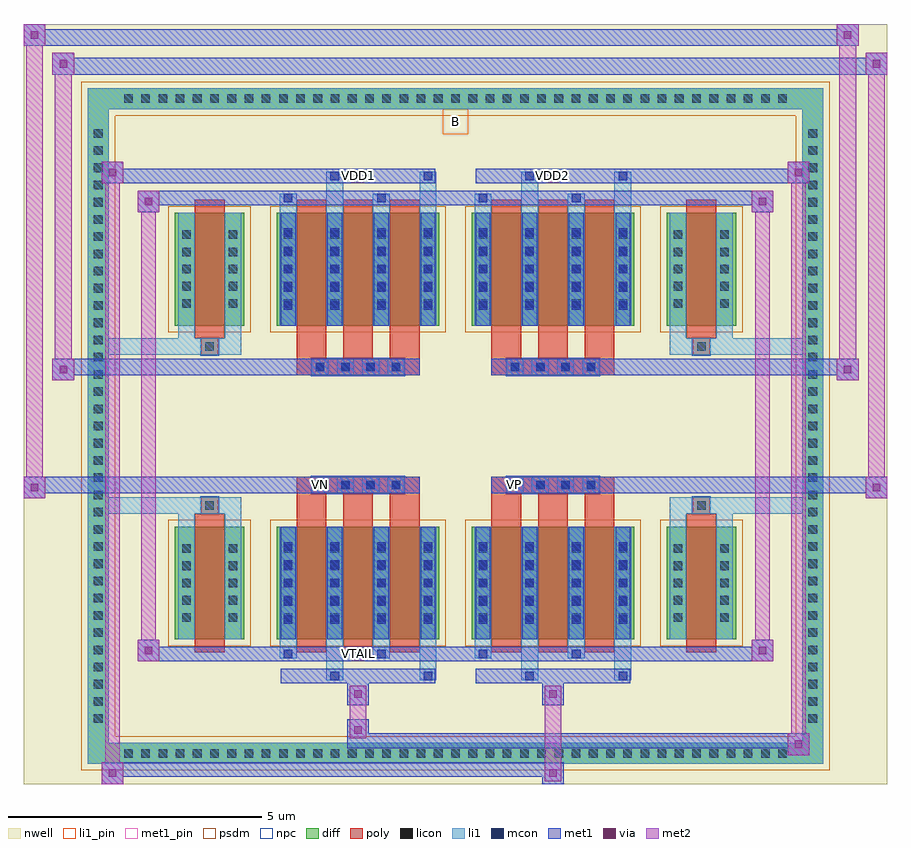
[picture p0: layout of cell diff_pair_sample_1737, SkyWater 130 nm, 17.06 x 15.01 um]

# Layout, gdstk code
import gdstk
lib = gdstk.Library(unit=1e-6, precision=5e-09)
def R(c, l, rs):  # rectangles x0, y0, x1, y1
    for r in rs: c.add(gdstk.rectangle(r[:2], r[2:], *l))
def A(c, l, x, y, w, h, nx, ny, dx, dy):  # array of equal rectangles
    R(c, l, [(x+i*dx, y+j*dy, x+i*dx+w, y+j*dy+h) for i in range(nx) for j in range(ny)])
def P(c, l, *ps):  # polygons
    for p in ps: c.add(gdstk.Polygon(p, *l))
nwell = (64, 20)
diff = (65, 20)
poly = (66, 20)
licon = (66, 44)
li1_pin = (67, 16)
li1 = (67, 20)
mcon = (67, 44)
met1_pin = (68, 16)
met1 = (68, 20)
via = (68, 44)
met2 = (69, 20)
psdm = (94, 20)
npc = (95, 20)

diff_pair_sample_1737 = lib.new_cell('diff_pair_sample_1737')
R(diff_pair_sample_1737, nwell, [(-8.53,-7.07,8.53,7.94), (-5.85,-5.26,-0.01,-0.8), (0.01,-5.26,5.85,-0.8), (-5.85,0.8,-0.01,5.26), (0.01,0.8,5.85,5.26)])
A(diff_pair_sample_1737, diff, -6.665, -6.67, 0.41, 0.41, 39, 2, 0.34, 12.93)
A(diff_pair_sample_1737, diff, -7.26, -5.985, 0.41, 0.41, 1, 35, 0, 0.34)
A(diff_pair_sample_1737, diff, 6.85, -5.985, 0.41, 0.41, 1, 35, 0, 0.34)
R(diff_pair_sample_1737, diff, [(-6.665,-6.67,6.665,-6.26), (-7.26,-5.985,-6.85,5.985), (6.85,-5.985,7.26,5.985), (-5.54,-4.215,-4.17,-1.985), (-3.53,-4.215,-0.32,-1.985), (0.32,-4.215,3.53,-1.985), (4.17,-4.215,5.54,-1.985), (-5.54,1.985,-4.17,4.215), (-3.53,1.985,-0.32,4.215), (0.32,1.985,3.53,4.215), (4.17,1.985,5.54,4.215), (-6.665,6.26,6.665,6.67)])
P(diff_pair_sample_1737, diff, [(7.26,6.67),(-7.26,6.67),(-7.26,-6.26),(-6.85,-6.26),(-6.85,6.26),(6.85,6.26),(6.85,-6.26),(-6.85,-6.26),(-7.26,-6.26),(-7.26,-6.67),(7.26,-6.67)])
A(diff_pair_sample_1737, poly, -3.14, -4.465, 0.59, 2.73, 3, 2, 0.92, 6.2)
A(diff_pair_sample_1737, poly, 0.71, -4.465, 0.59, 2.73, 3, 2, 0.92, 6.2)
A(diff_pair_sample_1737, poly, -3.14, -1.735, 0.59, 0.405, 3, 2, 0.92, 3.065)
A(diff_pair_sample_1737, poly, 0.71, -1.735, 0.59, 0.405, 3, 2, 0.92, 3.065)
A(diff_pair_sample_1737, poly, -2.84, -1.33, 0.33, 0.33, 4, 2, 0.5, 2.33)
A(diff_pair_sample_1737, poly, 1.01, -1.33, 0.33, 0.33, 4, 2, 0.5, 2.33)
R(diff_pair_sample_1737, poly, [(-5.15,-4.465,-4.56,-1.735), (4.56,-4.465,5.15,-1.735), (-5.02,-1.735,-4.69,-1.405), (-5.02,-1.735,-4.69,-1.405), (4.69,-1.735,5.02,-1.405), (4.69,-1.735,5.02,-1.405), (-3.14,-1.33,-0.71,-1), (0.71,-1.33,3.14,-1), (-3.14,1,-0.71,1.33), (0.71,1,3.14,1.33), (-5.02,1.405,-4.69,1.735), (-5.02,1.405,-4.69,1.735), (4.69,1.405,5.02,1.735), (4.69,1.405,5.02,1.735), (-5.15,1.735,-4.56,4.465), (4.56,1.735,5.15,4.465)])
A(diff_pair_sample_1737, licon, -6.545, -6.55, 0.17, 0.17, 39, 2, 0.34, 12.93)
A(diff_pair_sample_1737, licon, -7.14, -5.865, 0.17, 0.17, 1, 35, 0, 0.34)
A(diff_pair_sample_1737, licon, 6.97, -5.865, 0.17, 0.17, 1, 35, 0, 0.34)
A(diff_pair_sample_1737, licon, -5.4, -3.865, 0.17, 0.17, 1, 5, 0, 0.34)
A(diff_pair_sample_1737, licon, -4.48, -3.865, 0.17, 0.17, 1, 5, 0, 0.34)
A(diff_pair_sample_1737, licon, -3.39, -3.865, 0.17, 0.17, 4, 5, 0.92, 0.34)
A(diff_pair_sample_1737, licon, 0.46, -3.865, 0.17, 0.17, 4, 5, 0.92, 0.34)
A(diff_pair_sample_1737, licon, 4.31, -3.865, 0.17, 0.17, 1, 5, 0, 0.34)
A(diff_pair_sample_1737, licon, 5.23, -3.865, 0.17, 0.17, 1, 5, 0, 0.34)
A(diff_pair_sample_1737, licon, -2.76, -1.25, 0.17, 0.17, 4, 2, 0.5, 2.33)
A(diff_pair_sample_1737, licon, 1.09, -1.25, 0.17, 0.17, 4, 2, 0.5, 2.33)
A(diff_pair_sample_1737, licon, -5.4, 2.335, 0.17, 0.17, 1, 5, 0, 0.34)
A(diff_pair_sample_1737, licon, -4.48, 2.335, 0.17, 0.17, 1, 5, 0, 0.34)
A(diff_pair_sample_1737, licon, -3.39, 2.335, 0.17, 0.17, 4, 5, 0.92, 0.34)
A(diff_pair_sample_1737, licon, 0.46, 2.335, 0.17, 0.17, 4, 5, 0.92, 0.34)
A(diff_pair_sample_1737, licon, 4.31, 2.335, 0.17, 0.17, 1, 5, 0, 0.34)
A(diff_pair_sample_1737, licon, 5.23, 2.335, 0.17, 0.17, 1, 5, 0, 0.34)
R(diff_pair_sample_1737, licon, [(-4.94,-1.655,-4.77,-1.485), (4.77,-1.655,4.94,-1.485), (-4.94,1.485,-4.77,1.655), (4.77,1.485,4.94,1.655)])
R(diff_pair_sample_1737, li1_pin, [(-0.25,5.76,0.25,6.26)])
A(diff_pair_sample_1737, li1, -6.625, -6.63, 0.33, 0.33, 39, 2, 0.34, 12.93)
A(diff_pair_sample_1737, li1, -7.22, -5.945, 0.33, 0.33, 1, 35, 0, 0.34)
A(diff_pair_sample_1737, li1, 6.89, -5.945, 0.33, 0.33, 1, 35, 0, 0.34)
A(diff_pair_sample_1737, li1, -3.47, -4.215, 0.33, 2.23, 4, 2, 0.92, 6.2)
A(diff_pair_sample_1737, li1, 0.38, -4.215, 0.33, 2.23, 4, 2, 0.92, 6.2)
A(diff_pair_sample_1737, li1, -5.48, -3.945, 0.33, 0.33, 1, 5, 0, 0.34)
A(diff_pair_sample_1737, li1, -4.56, -3.945, 0.33, 0.33, 1, 5, 0, 0.34)
A(diff_pair_sample_1737, li1, -3.47, -3.945, 0.33, 0.33, 4, 5, 0.92, 0.34)
A(diff_pair_sample_1737, li1, 0.38, -3.945, 0.33, 0.33, 4, 5, 0.92, 0.34)
A(diff_pair_sample_1737, li1, 4.23, -3.945, 0.33, 0.33, 1, 5, 0, 0.34)
A(diff_pair_sample_1737, li1, 5.15, -3.945, 0.33, 0.33, 1, 5, 0, 0.34)
A(diff_pair_sample_1737, li1, -3.39, -3.905, 0.17, 0.17, 4, 5, 0.92, 0.36)
A(diff_pair_sample_1737, li1, -3.39, -3.905, 0.17, 1.61, 4, 2, 0.92, 6.2)
A(diff_pair_sample_1737, li1, 0.46, -3.905, 0.17, 0.17, 4, 5, 0.92, 0.36)
A(diff_pair_sample_1737, li1, 0.46, -3.905, 0.17, 1.61, 4, 2, 0.92, 6.2)
A(diff_pair_sample_1737, li1, -2.84, -1.33, 0.33, 0.33, 4, 2, 0.5, 2.33)
A(diff_pair_sample_1737, li1, 1.01, -1.33, 0.33, 0.33, 4, 2, 0.5, 2.33)
A(diff_pair_sample_1737, li1, -5.48, 2.255, 0.33, 0.33, 1, 5, 0, 0.34)
A(diff_pair_sample_1737, li1, -4.56, 2.255, 0.33, 0.33, 1, 5, 0, 0.34)
A(diff_pair_sample_1737, li1, -3.47, 2.255, 0.33, 0.33, 4, 5, 0.92, 0.34)
A(diff_pair_sample_1737, li1, 0.38, 2.255, 0.33, 0.33, 4, 5, 0.92, 0.34)
A(diff_pair_sample_1737, li1, 4.23, 2.255, 0.33, 0.33, 1, 5, 0, 0.34)
A(diff_pair_sample_1737, li1, 5.15, 2.255, 0.33, 0.33, 1, 5, 0, 0.34)
A(diff_pair_sample_1737, li1, -3.39, 2.295, 0.17, 0.17, 4, 5, 0.92, 0.36)
A(diff_pair_sample_1737, li1, 0.46, 2.295, 0.17, 0.17, 4, 5, 0.92, 0.36)
R(diff_pair_sample_1737, li1, [(-7.26,-6.67,-6.85,-6.26), (-7.26,-6.67,-6.85,-6.26), (-6.85,-6.67,6.85,-6.26), (6.85,-6.67,7.26,-6.26), (6.85,-6.67,7.26,-6.26), (-7.26,-6.26,-6.85,6.26), (6.85,-6.26,7.26,6.26), (-2.55,-5.02,-2.22,-4.215), (-2.47,-5.02,-2.3,-4.85), (-0.71,-5.02,-0.38,-4.215), (-0.63,-5.02,-0.46,-4.85), (1.3,-5.02,1.63,-4.215), (1.38,-5.02,1.55,-4.85), (3.14,-5.02,3.47,-4.215), (3.22,-5.02,3.39,-4.85), (-3.47,-4.59,-3.14,-4.215), (-3.39,-4.59,-3.22,-4.42), (-1.63,-4.59,-1.3,-4.215), (-1.55,-4.59,-1.38,-4.42), (0.38,-4.59,0.71,-4.215), (0.46,-4.59,0.63,-4.42), (2.22,-4.59,2.55,-4.215), (2.3,-4.59,2.47,-4.42), (-5.48,-4.215,-5.15,-1.985), (-4.56,-4.215,-4.23,-1.985), (4.23,-4.215,4.56,-1.985), (5.15,-4.215,5.48,-1.985), (-5.48,-1.985,-5.15,-1.405), (-4.56,-1.985,-4.23,-1.405), (4.23,-1.985,4.56,-1.405), (5.15,-1.985,5.48,-1.405), (-7.26,-1.735,-5.02,-1.405), (-5.48,-1.735,-5.02,-1.405), (-5.02,-1.735,-4.69,-1.405), (-4.69,-1.735,-4.23,-1.405), (4.23,-1.735,4.69,-1.405), (4.69,-1.735,5.02,-1.405), (4.69,-1.735,7.26,-1.405), (5.02,-1.735,5.48,-1.405), (-7.26,1.405,-5.02,1.735), (-5.48,1.405,-5.02,1.735), (-5.48,1.405,-5.15,1.985), (-5.02,1.405,-4.69,1.735), (-4.69,1.405,-4.23,1.735), (-4.56,1.405,-4.23,1.985), (4.23,1.405,4.69,1.735), (4.23,1.405,4.56,1.985), (4.69,1.405,5.02,1.735), (4.69,1.405,7.26,1.735), (5.02,1.405,5.48,1.735), (5.15,1.405,5.48,1.985), (-5.48,1.985,-5.15,4.215), (-4.56,1.985,-4.23,4.215), (4.23,1.985,4.56,4.215), (5.15,1.985,5.48,4.215), (-3.47,4.215,-3.14,4.59), (-2.55,4.215,-2.22,5.02), (-1.63,4.215,-1.3,4.59), (-0.71,4.215,-0.38,5.02), (0.38,4.215,0.71,4.59), (1.3,4.215,1.63,5.02), (2.22,4.215,2.55,4.59), (3.14,4.215,3.47,5.02), (-3.39,4.42,-3.22,4.59), (-1.55,4.42,-1.38,4.59), (0.46,4.42,0.63,4.59), (2.3,4.42,2.47,4.59), (-2.47,4.85,-2.3,5.02), (-0.63,4.85,-0.46,5.02), (1.38,4.85,1.55,5.02), (3.22,4.85,3.39,5.02), (-7.26,6.26,-6.85,6.67), (-7.26,6.26,-6.85,6.67), (-6.85,6.26,6.85,6.67), (6.85,6.26,7.26,6.67), (6.85,6.26,7.26,6.67)])
A(diff_pair_sample_1737, mcon, -3.39, -3.905, 0.17, 0.17, 4, 5, 0.92, 0.36)
A(diff_pair_sample_1737, mcon, 0.46, -3.905, 0.17, 0.17, 4, 5, 0.92, 0.36)
A(diff_pair_sample_1737, mcon, -2.76, -1.25, 0.17, 0.17, 4, 2, 0.5, 2.33)
A(diff_pair_sample_1737, mcon, 1.09, -1.25, 0.17, 0.17, 4, 2, 0.5, 2.33)
A(diff_pair_sample_1737, mcon, -3.39, 2.295, 0.17, 0.17, 4, 5, 0.92, 0.36)
A(diff_pair_sample_1737, mcon, 0.46, 2.295, 0.17, 0.17, 4, 5, 0.92, 0.36)
R(diff_pair_sample_1737, mcon, [(-2.47,-5.02,-2.3,-4.85), (-0.63,-5.02,-0.46,-4.85), (1.38,-5.02,1.55,-4.85), (3.22,-5.02,3.39,-4.85), (-3.39,-4.59,-3.22,-4.42), (-1.55,-4.59,-1.38,-4.42), (0.46,-4.59,0.63,-4.42), (2.3,-4.59,2.47,-4.42), (-3.39,4.42,-3.22,4.59), (-1.55,4.42,-1.38,4.59), (0.46,4.42,0.63,4.59), (2.3,4.42,2.47,4.59), (-2.47,4.85,-2.3,5.02), (-0.63,4.85,-0.46,5.02), (1.38,4.85,1.55,5.02), (3.22,4.85,3.39,5.02)])
R(diff_pair_sample_1737, met1_pin, [(-2.06,-4.63,-1.79,-4.36), (-2.81,-1.29,-2.54,-1.02), (1.04,-1.29,1.31,-1.02), (-2.06,4.81,-1.79,5.08), (1.79,4.81,2.06,5.08)])
A(diff_pair_sample_1737, met1, -3.45, -4.215, 0.29, 2.23, 4, 2, 0.92, 6.2)
A(diff_pair_sample_1737, met1, 0.4, -4.215, 0.29, 2.23, 4, 2, 0.92, 6.2)
A(diff_pair_sample_1737, met1, -3.45, -3.965, 0.29, 0.29, 4, 5, 0.92, 0.36)
A(diff_pair_sample_1737, met1, 0.4, -3.965, 0.29, 0.29, 4, 5, 0.92, 0.36)
A(diff_pair_sample_1737, met1, -2.82, -1.31, 0.29, 0.29, 4, 2, 0.5, 2.33)
A(diff_pair_sample_1737, met1, 1.03, -1.31, 0.29, 0.29, 4, 2, 0.5, 2.33)
A(diff_pair_sample_1737, met1, -3.45, 2.235, 0.29, 0.29, 4, 5, 0.92, 0.36)
A(diff_pair_sample_1737, met1, 0.4, 2.235, 0.29, 0.29, 4, 5, 0.92, 0.36)
R(diff_pair_sample_1737, met1, [(-6.99,-7.07,-6.56,-6.64), (1.71,-7.07,2.14,-6.64), (-6.99,-6.93,2.14,-6.64), (6.56,-6.5,6.99,-6.07), (-2.14,-6.36,6.99,-6.07), (-2.14,-6.22,-1.71,-5.79), (-2.14,-5.51,-1.71,-5.08), (1.71,-5.51,2.14,-5.08), (-3.45,-5.08,-0.4,-4.79), (-2.53,-5.08,-2.24,-4.79), (-0.69,-5.08,-0.4,-4.79), (0.4,-5.08,3.45,-4.79), (1.32,-5.08,1.61,-4.79), (3.16,-5.08,3.45,-4.79), (-6.28,-4.65,-5.85,-4.22), (-6.28,-4.65,-3.45,-4.36), (-3.45,-4.65,-3.16,-4.36), (-3.45,-4.65,-0.4,-4.36), (-1.61,-4.65,-1.32,-4.36), (-0.4,-4.65,0.4,-4.36), (0.4,-4.65,0.69,-4.36), (0.4,-4.65,3.45,-4.36), (2.24,-4.65,2.53,-4.36), (3.45,-4.65,6.28,-4.36), (5.85,-4.65,6.28,-4.22), (-8.53,-1.43,-8.1,-1), (8.1,-1.43,8.53,-1), (-8.53,-1.33,-0.71,-1), (-3.14,-1.33,-0.71,-1), (0.71,-1.33,3.14,-1), (0.71,-1.33,8.53,-1), (-7.96,0.9,-7.53,1.33), (7.53,0.9,7.96,1.33), (-7.96,1,-3.14,1.33), (-3.14,1,-0.71,1.33), (0.71,1,3.14,1.33), (3.14,1,7.96,1.33), (-6.28,4.22,-5.85,4.65), (5.85,4.22,6.28,4.65), (-6.28,4.36,-3.45,4.65), (-3.45,4.36,-3.16,4.65), (-3.45,4.36,-0.4,4.65), (-1.61,4.36,-1.32,4.65), (-0.4,4.36,0.4,4.65), (0.4,4.36,0.69,4.65), (0.4,4.36,3.45,4.65), (2.24,4.36,2.53,4.65), (3.45,4.36,6.28,4.65), (-6.99,4.79,-6.56,5.22), (-6.99,4.79,-3.45,5.08), (-3.45,4.79,-0.4,5.08), (-2.53,4.79,-2.24,5.08), (-0.69,4.79,-0.4,5.08), (0.4,4.79,3.45,5.08), (1.32,4.79,1.61,5.08), (3.16,4.79,3.45,5.08), (3.45,4.79,6.99,5.08), (6.56,4.79,6.99,5.22), (-7.96,6.94,-7.53,7.37), (-7.96,6.94,-5.85,7.27), (-5.85,6.94,5.85,7.27), (5.85,6.94,8.53,7.27), (8.1,6.94,8.53,7.37), (-8.53,7.51,-8.1,7.94), (-8.53,7.51,-5.85,7.84), (-5.85,7.51,5.85,7.84), (5.85,7.51,7.96,7.84), (7.53,7.51,7.96,7.94)])
R(diff_pair_sample_1737, via, [(-6.85,-6.93,-6.7,-6.78), (1.85,-6.93,2,-6.78), (6.7,-6.36,6.85,-6.21), (-2,-6.08,-1.85,-5.93), (-2,-5.37,-1.85,-5.22), (1.85,-5.37,2,-5.22), (-6.14,-4.51,-5.99,-4.36), (5.99,-4.51,6.14,-4.36), (-8.39,-1.29,-8.24,-1.14), (8.24,-1.29,8.39,-1.14), (-7.82,1.04,-7.67,1.19), (7.67,1.04,7.82,1.19), (-6.14,4.36,-5.99,4.51), (5.99,4.36,6.14,4.51), (-6.85,4.93,-6.7,5.08), (6.7,4.93,6.85,5.08), (-7.82,7.08,-7.67,7.23), (8.24,7.08,8.39,7.23), (-8.39,7.65,-8.24,7.8), (7.67,7.65,7.82,7.8)])
R(diff_pair_sample_1737, met2, [(-6.99,-7.07,-6.56,-6.64), (-6.92,-7.07,-6.63,5.22), (-6.63,-7.07,-6.56,-6.64), (-6.94,-7.02,-6.61,-6.69), (1.76,-7.02,2.09,-6.69), (1.76,-6.69,2.09,-5.46), (6.56,-6.5,6.99,-6.07), (6.63,-6.5,6.92,5.22), (6.92,-6.5,6.99,-6.07), (6.61,-6.45,6.94,-6.12), (-2.09,-6.17,-1.76,-5.84), (-2.09,-5.84,-1.76,-5.46), (-2.09,-5.46,-1.76,-5.13), (1.76,-5.46,2.09,-5.13), (-6.28,-4.65,-5.85,-4.22), (-6.21,-4.65,-5.92,4.65), (-5.92,-4.65,-5.85,-4.22), (5.85,-4.65,6.28,-4.22), (5.92,-4.65,6.21,4.65), (6.21,-4.65,6.28,-4.22), (-6.23,-4.6,-5.9,-4.27), (5.9,-4.6,6.23,-4.27), (-8.53,-1.43,-8.1,-1), (-8.48,-1.43,-8.15,7.94), (-8.15,-1.43,-8.1,-1), (8.1,-1.43,8.53,-1), (8.15,-1.43,8.48,7.37), (8.48,-1.43,8.53,-1), (-8.48,-1.38,-8.15,-1.05), (8.15,-1.38,8.48,-1.05), (-7.96,0.9,-7.53,1.33), (-7.91,0.9,-7.58,7.37), (-7.58,0.9,-7.53,1.33), (7.53,0.9,7.96,1.33), (7.58,0.9,7.91,7.94), (7.91,0.9,7.96,1.33), (-7.91,0.95,-7.58,1.28), (7.58,0.95,7.91,1.28), (-6.28,4.22,-5.85,4.65), (-5.92,4.22,-5.85,4.65), (5.85,4.22,6.28,4.65), (6.21,4.22,6.28,4.65), (-6.23,4.27,-5.9,4.6), (5.9,4.27,6.23,4.6), (-6.99,4.79,-6.56,5.22), (-6.63,4.79,-6.56,5.22), (6.56,4.79,6.99,5.22), (6.92,4.79,6.99,5.22), (-6.94,4.84,-6.61,5.17), (6.61,4.84,6.94,5.17), (-7.96,6.94,-7.53,7.37), (-7.58,6.94,-7.53,7.37), (8.1,6.94,8.53,7.37), (8.48,6.94,8.53,7.37), (-7.91,6.99,-7.58,7.32), (8.15,6.99,8.48,7.32), (-8.53,7.51,-8.1,7.94), (-8.15,7.51,-8.1,7.94), (7.53,7.51,7.96,7.94), (7.91,7.51,7.96,7.94), (-8.48,7.56,-8.15,7.89), (7.58,7.56,7.91,7.89)])
R(diff_pair_sample_1737, psdm, [(-5.67,-4.345,-4.04,-1.855), (-3.66,-4.345,-0.19,-1.855), (0.19,-4.345,3.66,-1.855), (4.04,-4.345,5.67,-1.855), (-5.67,1.855,-4.04,4.345), (-3.66,1.855,-0.19,4.345), (0.19,1.855,3.66,4.345), (4.04,1.855,5.67,4.345)])
P(diff_pair_sample_1737, psdm, [(7.39,6.8),(-7.39,6.8),(-7.39,-6.13),(-6.72,-6.13),(-6.72,6.13),(6.72,6.13),(6.72,-6.13),(-6.72,-6.13),(-7.39,-6.13),(-7.39,-6.8),(7.39,-6.8)])
A(diff_pair_sample_1737, npc, -2.86, -1.35, 0.37, 0.37, 4, 2, 0.5, 2.33)
A(diff_pair_sample_1737, npc, 0.99, -1.35, 0.37, 0.37, 4, 2, 0.5, 2.33)
R(diff_pair_sample_1737, npc, [(-5.04,-1.755,-4.67,-1.385), (4.67,-1.755,5.04,-1.385), (-2.86,-1.35,-1.99,-0.98), (-2.86,-1.35,-1.99,-0.98), (-2.36,-1.35,-1.49,-0.98), (-2.36,-1.35,-1.49,-0.98), (-1.86,-1.35,-0.99,-0.98), (-1.86,-1.35,-0.99,-0.98), (0.99,-1.35,1.86,-0.98), (0.99,-1.35,1.86,-0.98), (1.49,-1.35,2.36,-0.98), (1.49,-1.35,2.36,-0.98), (1.99,-1.35,2.86,-0.98), (1.99,-1.35,2.86,-0.98), (-2.86,0.98,-1.99,1.35), (-2.86,0.98,-1.99,1.35), (-2.36,0.98,-1.49,1.35), (-2.36,0.98,-1.49,1.35), (-1.86,0.98,-0.99,1.35), (-1.86,0.98,-0.99,1.35), (0.99,0.98,1.86,1.35), (0.99,0.98,1.86,1.35), (1.49,0.98,2.36,1.35), (1.49,0.98,2.36,1.35), (1.99,0.98,2.86,1.35), (1.99,0.98,2.86,1.35), (-5.04,1.385,-4.67,1.755), (4.67,1.385,5.04,1.755)])
diff_pair_sample_1737.add(gdstk.Label('VTAIL', (-1.925,-4.495), layer=68, texttype=5))
diff_pair_sample_1737.add(gdstk.Label('VN', (-2.675,-1.155), layer=68, texttype=5))
diff_pair_sample_1737.add(gdstk.Label('VP', (1.175,-1.155), layer=68, texttype=5))
diff_pair_sample_1737.add(gdstk.Label('B', (0,6.01), layer=67, texttype=5))
diff_pair_sample_1737.add(gdstk.Label('VDD2', (1.925,4.945), layer=68, texttype=5))
diff_pair_sample_1737.add(gdstk.Label('VDD1', (-1.925,4.945), layer=68, texttype=5))

lib.write_gds('diff_pair_sample_1737.gds')
